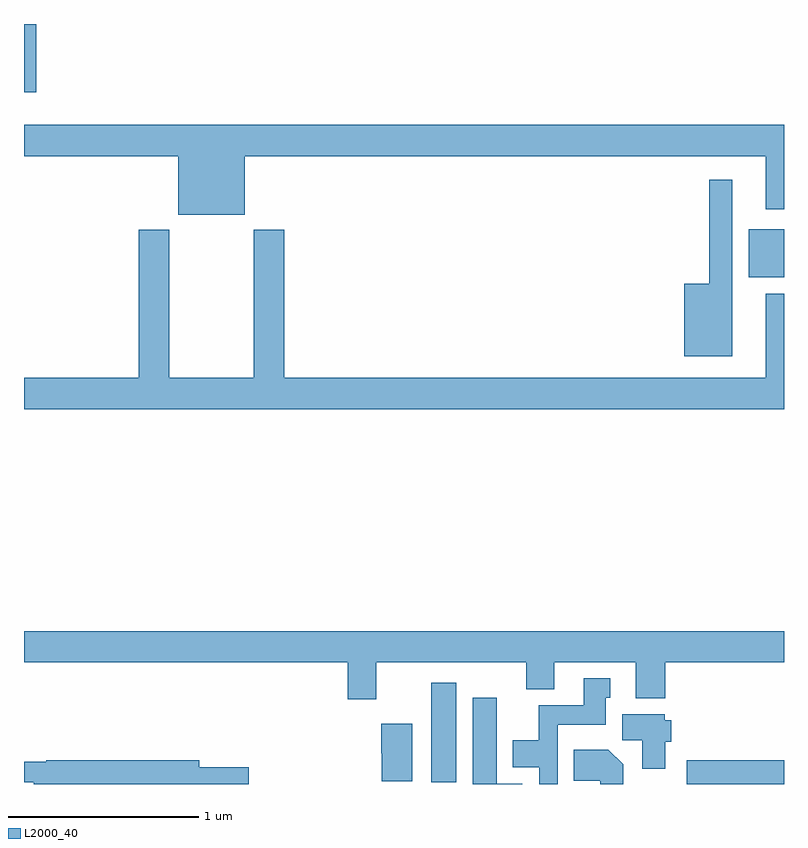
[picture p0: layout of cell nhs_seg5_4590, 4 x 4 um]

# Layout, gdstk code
import gdstk
lib = gdstk.Library(unit=1e-6, precision=1e-09)
def R(c, l, rs):  # rectangles x0, y0, x1, y1
    for r in rs: c.add(gdstk.rectangle(r[:2], r[2:], *l))
def P(c, l, *ps):  # polygons
    for p in ps: c.add(gdstk.Polygon(p, *l))
L2000_40 = (2000, 40)

nhs_seg5_4590 = lib.new_cell('nhs_seg5_4590')
R(nhs_seg5_4590, L2000_40, [(384.489,842.799,385,842.924), (383.144,842.808,383.275,843.331), (384.815,845.465,385,845.719), (381,846.44,381.065,846.799)])
P(nhs_seg5_4590, L2000_40, [(382.162,846.104),(384.905,846.104),(384.905,845.823),(385,845.823),(385,846.268),(381,846.268),(381,846.104),(381.812,846.104),(381.812,845.795),(382.162,845.795)],
  [(384.727,845.98),(384.606,845.98),(384.606,845.431),(384.476,845.431),(384.476,845.051),(384.727,845.051)],
  [(385,845.38),(384.905,845.38),(384.905,844.936),(382.37,844.936),(382.37,845.716),(382.21,845.716),(382.21,844.936),(381.765,844.936),(381.765,845.716),(381.605,845.716),(381.605,844.936),(381,844.936),(381,844.772),(385,844.772)],
  [(382.855,843.44),(383.644,843.44),(383.644,843.299),(383.791,843.299),(383.791,843.44),(384.221,843.44),(384.221,843.251),(384.374,843.251),(384.374,843.44),(385,843.44),(385,843.604),(381,843.604),(381,843.44),(382.703,843.44),(382.703,843.246),(382.855,843.246)],
  [(383.808,843.11),(384.061,843.11),(384.061,843.252),(384.085,843.252),(384.085,843.355),(383.945,843.355),(383.945,843.214),(383.71,843.214),(383.71,843.028),(383.573,843.028),(383.573,842.888),(383.712,842.888),(383.712,842.799),(383.808,842.799)],
  [(383.623,842.8),(383.488,842.8),(383.488,843.253),(383.363,843.253),(383.363,842.799),(383.623,842.799)],
  [(384.376,843.021),(384.407,843.021),(384.407,843.135),(384.372,843.135),(384.372,843.166),(384.149,843.166),(384.149,843.028),(384.254,843.028),(384.254,842.88),(384.376,842.88)],
  [(383.044,843.115),(382.88,843.115),(382.88,842.961),(382.882,842.961),(382.882,842.813),(383.044,842.813)],
  [(384.154,842.902),(384.076,842.98),(383.893,842.98),(383.893,842.816),(384.032,842.816),(384.032,842.799),(384.154,842.799)],
  [(382.183,842.888),(381.922,842.888),(381.922,842.924),(381.118,842.924),(381.118,842.917),(381,842.917),(381,842.807),(381.052,842.807),(381.052,842.799),(382.183,842.799)])

lib.write_gds('nhs_seg5_4590.gds')
